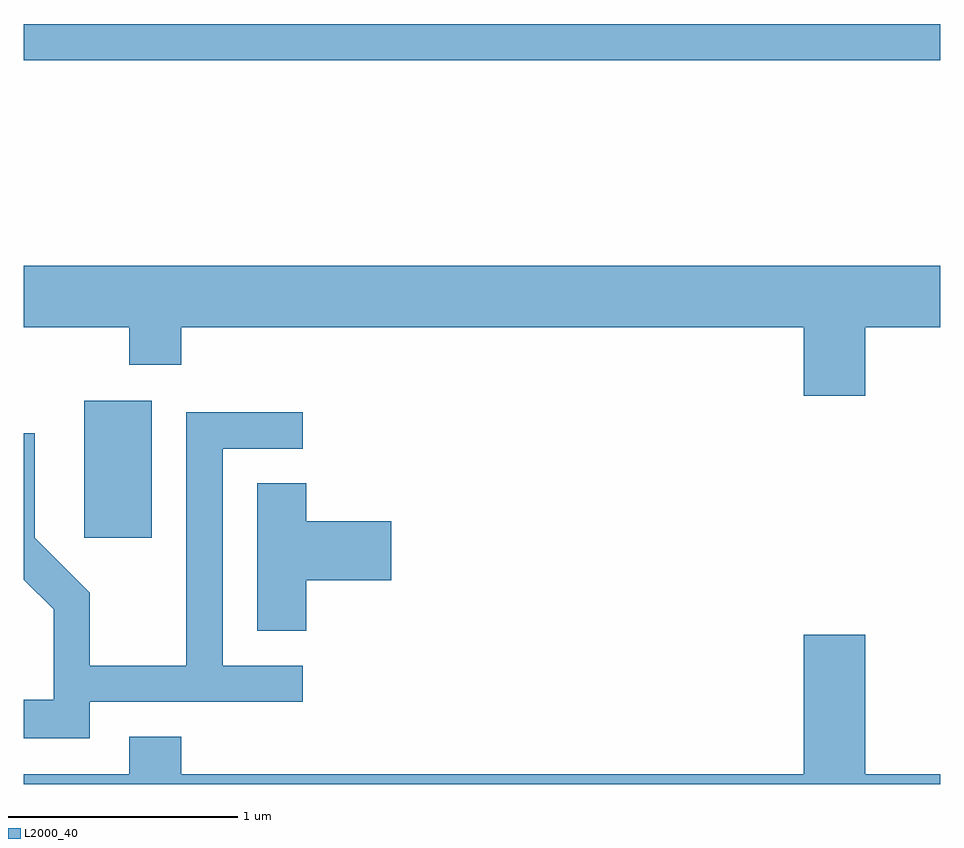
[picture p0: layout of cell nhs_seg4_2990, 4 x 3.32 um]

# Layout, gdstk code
import gdstk
lib = gdstk.Library(unit=1e-6, precision=1e-09)
def R(c, l, rs):  # rectangles x0, y0, x1, y1
    for r in rs: c.add(gdstk.rectangle(r[:2], r[2:], *l))
def P(c, l, *ps):  # polygons
    for p in ps: c.add(gdstk.Polygon(p, *l))
L2000_40 = (2000, 40)

nhs_seg4_2990 = lib.new_cell('nhs_seg4_2990')
R(nhs_seg4_2990, L2000_40, [(271.876,1387.056,272.169,1387.654), (271.611,1389.141,275.611,1389.299)])
P(nhs_seg4_2990, L2000_40, [(275.284,1387.976),(275.611,1387.976),(275.611,1388.244),(271.611,1388.244),(271.611,1387.976),(272.071,1387.976),(272.071,1387.811),(272.299,1387.811),(272.299,1387.976),(275.016,1387.976),(275.016,1387.676),(275.284,1387.676)],
  [(271.899,1386.341),(272.828,1386.341),(272.828,1386.499),(272.479,1386.499),(272.479,1387.446),(272.828,1387.446),(272.828,1387.604),(272.321,1387.604),(272.321,1386.499),(271.899,1386.499),(271.899,1386.817),(271.659,1387.057),(271.659,1387.513),(271.611,1387.513),(271.611,1386.874),(271.741,1386.744),(271.741,1386.349),(271.611,1386.349),(271.611,1386.181),(271.899,1386.181)],
  [(272.844,1386.871),(273.214,1386.871),(273.214,1387.129),(272.844,1387.129),(272.844,1387.294),(272.631,1387.294),(272.631,1386.651),(272.844,1386.651)],
  [(275.611,1386.024),(275.284,1386.024),(275.284,1386.634),(275.016,1386.634),(275.016,1386.024),(272.299,1386.024),(272.299,1386.189),(272.071,1386.189),(272.071,1386.024),(271.611,1386.024),(271.611,1385.982),(275.611,1385.982)])

lib.write_gds('nhs_seg4_2990.gds')
